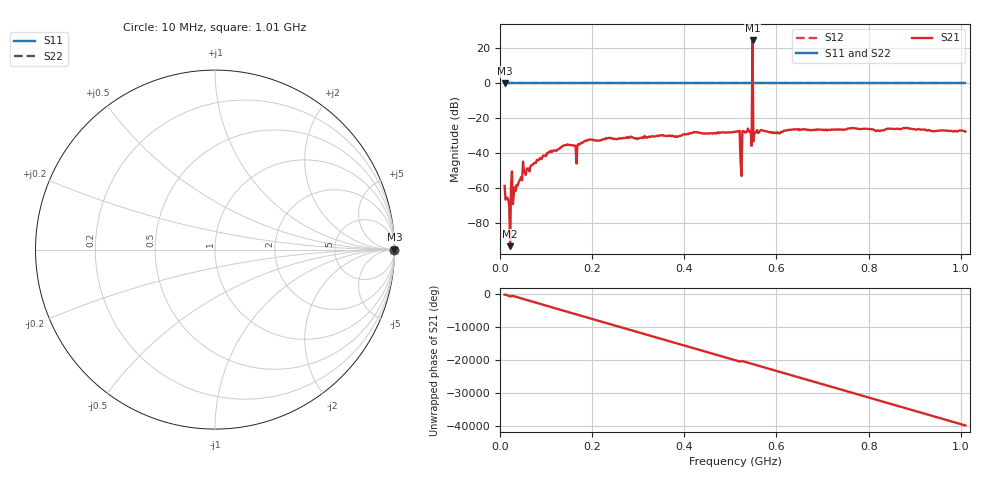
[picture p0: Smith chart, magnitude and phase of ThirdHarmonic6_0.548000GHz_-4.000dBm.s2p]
! 8/15/2025 5:18:06 PM
! C:\ANRITSUVNA\TEMP\TEMP.S2P
! CHANNEL.1
! TR.MEASUREMENT
! RAW.DATA
! RF.CORRECTION.OFF
! AVERAGING.OFF
! IF.BANDWIDTH: 5KHZ
! SWEEPTYPE:  FREQ.SWEEP(Linear)
! Reference Plane Port Info
! PORT:  PORT1  PORT2
! DISTANCE:  0  m  0  m
! TIME:  0  s  0  s
! PHASE.OFFSET:  0  deg.  0  deg.
! LOSS:  0  dB  0  dB
! REF.LOSS:  0  dB  0  dB
! REF.FREQ:  0  Hz  0  Hz
! Power Info
! POWER:  -20  dBm  -20  dBm
! EFF.POWER:  -20  dBm  -20  dBm
! SOURCE.ATTEN:  0  dB  0  dB
! TEST.ATTEN:  0  dB  0  dB
# GHZ S RI R 50.0
! FREQ.GHZ  S11RE  S11IM  S21RE  S21IM  S12RE  S12IM  S22RE  S22IM
!; PortSelection: Port_12
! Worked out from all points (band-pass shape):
!   501 points, 10 MHz to 1.01 GHz, reference 50 ohm
!   highest |S21| = 24.47 dB at 548 MHz (marker M1); lowest = -93.6 dB at 22 MHz (marker M2)
!   |S21| within 3 dB of the highest: 547.9009 MHz to 548.1037 MHz (202.8 kHz wide, 0.037 % of centre)
!   lowest |S11| = 0.0 dB at 10 MHz (marker M3)
!   |S11| at or under -10 dB: nowhere
!   |S22| runs from 0.0 to 0.0 dB; largest |S21 - S12| = 16
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0.01  1 0  -0.00111 -0.000176  1 0  1 0
0.018  1 0  -0.000395 -0.000184  1 0  1 0
0.022  1 0  2.01e-05 -5.9e-06  1 0  1 0
0.054  1 0  -0.00271 0.000337  1 0  1 0
0.084  1 0  0.00464 0.00397  1 0  1 0
0.142  1 0  -0.0155 -0.00579  1 0  1 0
0.168  1 0  -0.0105 -0.0127  1 0  1 0
0.178  1 0  -0.0189 -0.00265  1 0  1 0
0.344  1 0  0.0285 -0.0105  1 0  1 0
0.51  1 0  -0.0332 0.022  1 0  1 0
0.516  1 0  -0.00455 -0.0403  1 0  1 0
0.52  1 0  -0.0105 0.0415  1 0  1 0
0.526  1 0  -0.0306 -0.0284  1 0  1 0
0.53  1 0  0.0221 0.035  1 0  1 0
0.542  1 0  0.0166 -0.0364  1 0  1 0
0.544  1 0  -0.0316 -0.0268  1 0  1 0
0.548  1 0  15.48 6.372  1 0  1 0
0.552  1 0  -0.00772 -0.034  1 0  1 0
0.554  1 0  -0.0378 0.000659  1 0  1 0
0.678  1 0  -0.0309 -0.0326  1 0  1 0
0.844  1 0  0.0453 0.0203  1 0  1 0
1.01  1 0  -0.0403 0.00553  1 0  1 0
